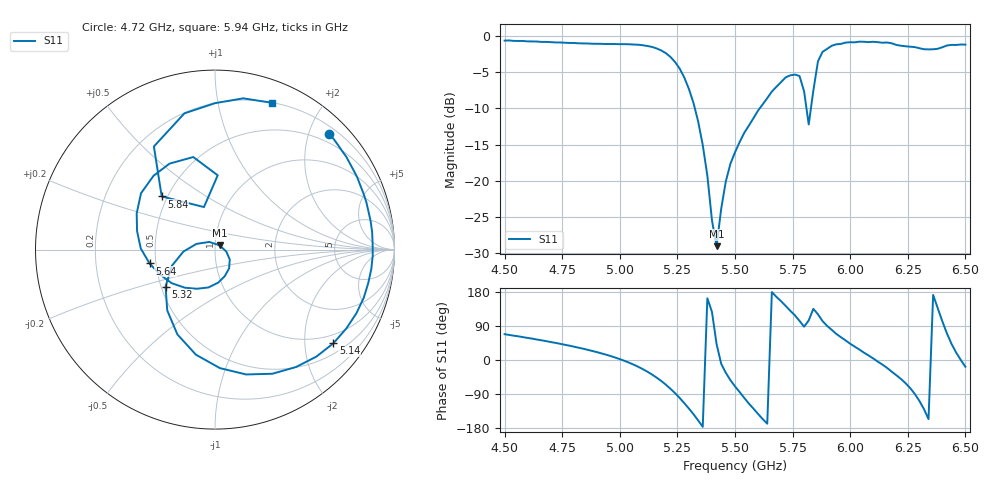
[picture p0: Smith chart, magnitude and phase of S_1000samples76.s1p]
! TOUCHSTONE file generated by CST MICROWAVE STUDIO
! Date and time: Wed Oct 26 22:00:15 2022
! Project name: L.cst
! Parameters = {Di=1.27; Epsilon_r=1.56; InnerDiameter=1.27; Length=2; Lf=10; Lg=60; OuterConductorThickness=0.2921; OuterDiameter=3.6; Wf=3; Wp=41.2; de=1.5; df=6.8; g=0.8; gx=3.55904; gy=0.575534; h=2.34; hf=1.524; px=8.72999; py=12.7709; w=9.7; wx=5.17095; wy=12.1954}
! Header version: 2018
! Port assignment regex: !\s*Touchstone port\s*([0-9]+)\s*=\s*(CST MWS port|CST DS port)\s*([0-9]+|Zmin|Zmax)\s*\(\"(.*)\"\)(\s*mode\s*([0-9]+))?.*
! Touchstone port assignment:
! Touchstone port 1 = CST MWS port 1 ("")
# GHz S DB R 50
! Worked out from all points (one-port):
!   101 points, 4.5 GHz to 6.5 GHz, reference 50 ohm
!   lowest |S11| = -29.0 dB at 5.42 GHz (marker M1), VSWR 1.07, Z = 52.6 + j2.5 ohm
!   |S11| at or under -10 dB: 5.326 GHz to 5.607 GHz (281.3 MHz wide, 5.15 % of centre); 5.810264 GHz to 5.829505 GHz (19.24 MHz wide, 0.331 % of centre)
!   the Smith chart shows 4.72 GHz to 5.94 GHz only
!   S11 on the Smith chart (normalised r, x): 4.72 GHz: 0.34, +2.36; 5.14 GHz: 0.75, -2.69; 5.32 GHz: 0.53, -0.25; 5.64 GHz: 0.46, -0.08; 5.84 GHz: 0.47, +0.33; 5.94 GHz: 0.20, +1.44
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4.5  -0.63 68.1
4.72  -0.88 45.3
4.76  -0.92 40.3
5  -1.12 2.3
5.14  -1.50 -38.3
5.2  -2.36 -65.2
5.26  -4.51 -100.3
5.32  -9.27 -143.2
5.42  -29.04 42.2
5.46  -20.11 -33.7
5.5  -16.07 -69.6
5.64  -8.57 -168.1
5.7  -6.36 155.1
5.76  -5.32 117.9
5.8  -7.66 87.9
5.82  -12.22 104.6
5.84  -7.54 135.1
5.88  -2.18 102.7
5.94  -1.14 68.8
6  -0.85 42.9
6.14  -0.92 -12.2
6.26  -1.47 -73.8
6.32  -1.82 -129.3
6.36  -1.83 171.8
6.4  -1.55 101.9
6.44  -1.22 42.3
6.46  -1.23 19.6
6.5  -1.18 -17.9
